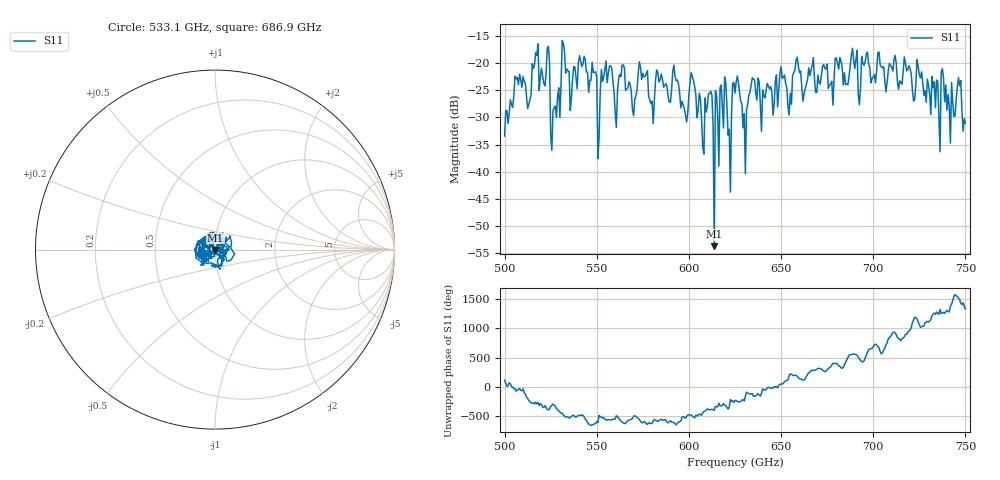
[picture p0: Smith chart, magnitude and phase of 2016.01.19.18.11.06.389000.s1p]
!Created with skrf (http://scikit-rf.org).
# GHz S RI R 50.0
!freq ReS11 ImS11
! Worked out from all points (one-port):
!   401 points, 500 GHz to 750 GHz, reference 50 ohm
!   lowest |S11| = -53.8 dB at 613.8 GHz (marker M1), VSWR 1.00, Z = 50.1 - j0.147 ohm
!   |S11| at or under -10 dB: start of sweep to end of sweep
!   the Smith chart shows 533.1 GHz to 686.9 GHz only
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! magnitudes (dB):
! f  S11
! 500 GHz  -33.4
! 506.9 GHz  -22.6
! 513.1 GHz  -27.5
! 516.9 GHz  -18.0
! 523.1 GHz  -17.2
! 526.2 GHz  -28.7
! 531.2 GHz  -15.8
! 548.8 GHz  -21.7
! 550.6 GHz  -37.6
! 553.8 GHz  -22.5
! 562.5 GHz  -22.0
! 593.8 GHz  -23.1
! 598.1 GHz  -29.6
! 601.9 GHz  -22.5
! 608.1 GHz  -36.8
! 611.2 GHz  -25.6
! 613.8 GHz  -53.8
! 618.8 GHz  -31.9
! 621.9 GHz  -32.2
! 625 GHz  -25.5
! 630.6 GHz  -40.4
! 634.4 GHz  -22.7
! 656.2 GHz  -22.2
! 687.5 GHz  -20.5
! 718.8 GHz  -21.1
! 735 GHz  -23.3
! 746.2 GHz  -22.6
! 750 GHz  -31.1
